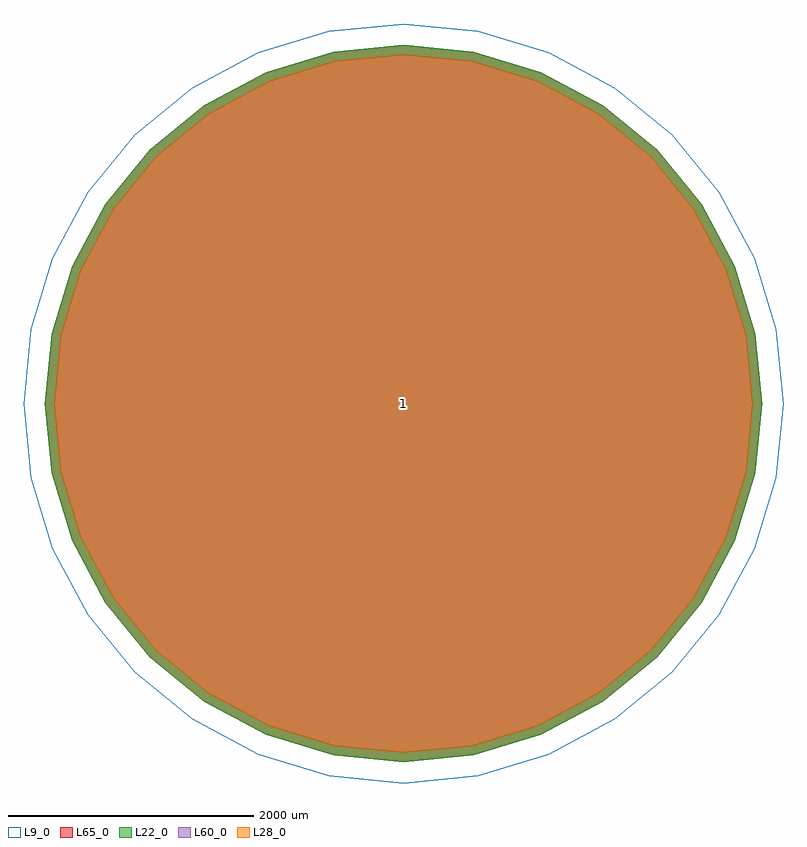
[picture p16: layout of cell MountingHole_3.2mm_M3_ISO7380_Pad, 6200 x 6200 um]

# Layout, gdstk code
import gdstk
lib = gdstk.Library(unit=1e-6, precision=1e-09)
def P(c, l, *ps):  # polygons
    for p in ps: c.add(gdstk.Polygon(p, *l))
L9_0 = (9, 0)
L22_0 = (22, 0)
L28_0 = (28, 0)
L60_0 = (60, 0)
L65_0 = (65, 0)

mountinghole_3_2mm_m3_is = lib.new_cell('MountingHole_3.2mm_M3_ISO7380_Pad')
P(mountinghole_3_2mm_m3_is, L9_0, [(3100,0),(3040.434,604.78),(2864.027,1186.319),(2577.556,1722.268),(2192.031,2192.031),(1722.268,2577.556),(1186.319,2864.027),(604.78,3040.434),(0,3100),(-604.78,3040.434),(-1186.319,2864.027),(-1722.268,2577.556),(-2192.031,2192.031),(-2577.556,1722.268),(-2864.027,1186.319),(-3040.434,604.78),(-3100,0),(-3040.434,-604.78),(-2864.027,-1186.319),(-2577.556,-1722.268),(-2192.031,-2192.031),(-1722.268,-2577.556),(-1186.319,-2864.027),(-604.78,-3040.434),(0,-3100),(604.78,-3040.434),(1186.319,-2864.027),(1722.268,-2577.556),(2192.031,-2192.031),(2577.556,-1722.268),(2864.027,-1186.319),(3040.434,-604.78)],
  [(2850,0),(2795.238,556.007),(2633.057,1090.648),(2369.688,1583.375),(2015.254,2015.254),(1583.375,2369.688),(1090.648,2633.057),(556.007,2795.238),(0,2850),(-556.007,2795.238),(-1090.648,2633.057),(-1583.375,2369.688),(-2015.254,2015.254),(-2369.688,1583.375),(-2633.057,1090.648),(-2795.238,556.007),(-2850,0),(-2795.238,-556.007),(-2633.057,-1090.648),(-2369.688,-1583.375),(-2015.254,-2015.254),(-1583.375,-2369.688),(-1090.648,-2633.057),(-556.007,-2795.238),(0,-2850),(556.007,-2795.238),(1090.648,-2633.057),(1583.375,-2369.688),(2015.254,-2015.254),(2369.688,-1583.375),(2633.057,-1090.648),(2795.238,-556.007)])
P(mountinghole_3_2mm_m3_is, L22_0, [(2925,0),(2868.797,570.639),(2702.348,1119.349),(2432.049,1625.043),(2068.287,2068.287),(1625.043,2432.049),(1119.349,2702.348),(570.639,2868.797),(0,2925),(-570.639,2868.797),(-1119.349,2702.348),(-1625.043,2432.049),(-2068.287,2068.287),(-2432.049,1625.043),(-2702.348,1119.349),(-2868.797,570.639),(-2925,0),(-2868.797,-570.639),(-2702.348,-1119.349),(-2432.049,-1625.043),(-2068.287,-2068.287),(-1625.043,-2432.049),(-1119.349,-2702.348),(-570.639,-2868.797),(0,-2925),(570.639,-2868.797),(1119.349,-2702.348),(1625.043,-2432.049),(2068.287,-2068.287),(2432.049,-1625.043),(2702.348,-1119.349),(2868.797,-570.639)])
P(mountinghole_3_2mm_m3_is, L28_0, [(2850,0),(2795.238,556.007),(2633.057,1090.648),(2369.688,1583.375),(2015.254,2015.254),(1583.375,2369.688),(1090.648,2633.057),(556.007,2795.238),(0,2850),(-556.007,2795.238),(-1090.648,2633.057),(-1583.375,2369.688),(-2015.254,2015.254),(-2369.688,1583.375),(-2633.057,1090.648),(-2795.238,556.007),(-2850,0),(-2795.238,-556.007),(-2633.057,-1090.648),(-2369.688,-1583.375),(-2015.254,-2015.254),(-1583.375,-2369.688),(-1090.648,-2633.057),(-556.007,-2795.238),(0,-2850),(556.007,-2795.238),(1090.648,-2633.057),(1583.375,-2369.688),(2015.254,-2015.254),(2369.688,-1583.375),(2633.057,-1090.648),(2795.238,-556.007)])
P(mountinghole_3_2mm_m3_is, L60_0, [(2850,0),(2795.238,556.007),(2633.057,1090.648),(2369.688,1583.375),(2015.254,2015.254),(1583.375,2369.688),(1090.648,2633.057),(556.007,2795.238),(0,2850),(-556.007,2795.238),(-1090.648,2633.057),(-1583.375,2369.688),(-2015.254,2015.254),(-2369.688,1583.375),(-2633.057,1090.648),(-2795.238,556.007),(-2850,0),(-2795.238,-556.007),(-2633.057,-1090.648),(-2369.688,-1583.375),(-2015.254,-2015.254),(-1583.375,-2369.688),(-1090.648,-2633.057),(-556.007,-2795.238),(0,-2850),(556.007,-2795.238),(1090.648,-2633.057),(1583.375,-2369.688),(2015.254,-2015.254),(2369.688,-1583.375),(2633.057,-1090.648),(2795.238,-556.007)])
P(mountinghole_3_2mm_m3_is, L65_0, [(2925,0),(2868.797,570.639),(2702.348,1119.349),(2432.049,1625.043),(2068.287,2068.287),(1625.043,2432.049),(1119.349,2702.348),(570.639,2868.797),(0,2925),(-570.639,2868.797),(-1119.349,2702.348),(-1625.043,2432.049),(-2068.287,2068.287),(-2432.049,1625.043),(-2702.348,1119.349),(-2868.797,570.639),(-2925,0),(-2868.797,-570.639),(-2702.348,-1119.349),(-2432.049,-1625.043),(-2068.287,-2068.287),(-1625.043,-2432.049),(-1119.349,-2702.348),(-570.639,-2868.797),(0,-2925),(570.639,-2868.797),(1119.349,-2702.348),(1625.043,-2432.049),(2068.287,-2068.287),(2432.049,-1625.043),(2702.348,-1119.349),(2868.797,-570.639)])
mountinghole_3_2mm_m3_is.add(gdstk.Label('1', (0,0), layer=28, texttype=0))
mountinghole_3_2mm_m3_is.add(gdstk.Label('type', (0,-3850), layer=9, texttype=0))
mountinghole_3_2mm_m3_is.add(gdstk.Label('devicename', (0,3850), layer=9, texttype=0))

lib.write_gds('MountingHole_3.2mm_M3_ISO7380_Pad.gds')
